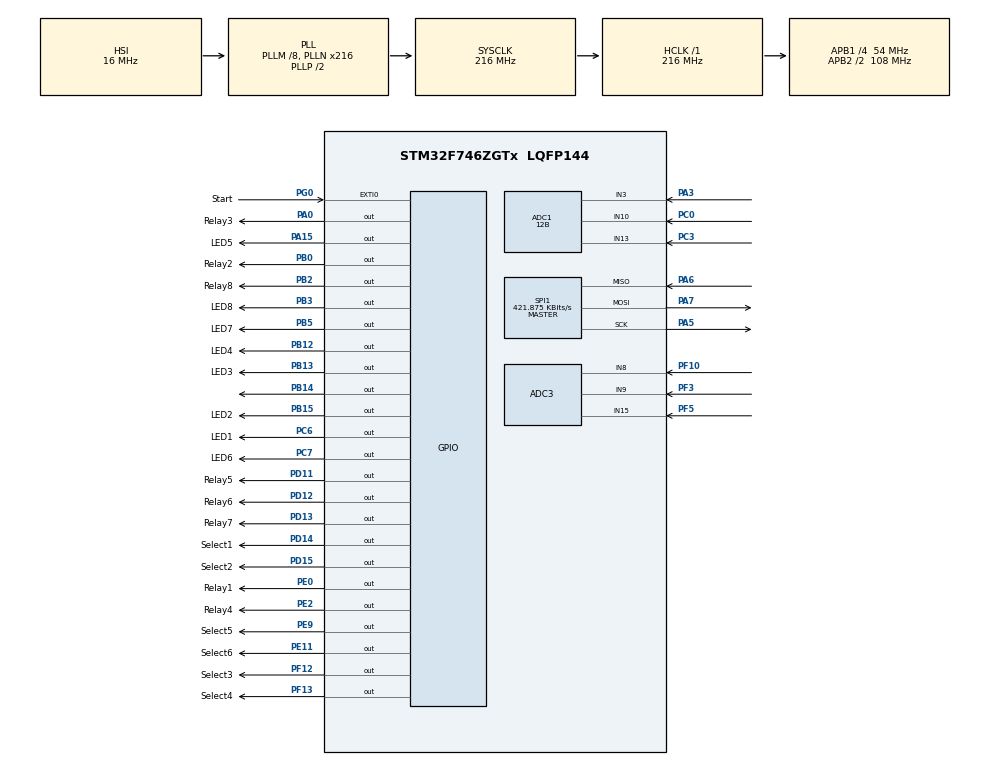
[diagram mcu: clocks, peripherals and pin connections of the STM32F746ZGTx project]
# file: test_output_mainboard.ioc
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ADC1.Channel-0\#ChannelRegularConversion=ADC_CHANNEL_3
ADC1.ClockPrescaler=ADC_CLOCK_SYNC_PCLK_DIV4
ADC1.ContinuousConvMode=DISABLE
ADC1.DMAContinuousRequests=DISABLE
ADC1.DataAlign=ADC_DATAALIGN_RIGHT
ADC1.DiscontinuousConvMode=DISABLE
ADC1.EOCSelection=ADC_EOC_SINGLE_CONV
ADC1.EnableAnalogWatchDog=false
ADC1.ExternalTrigConv=ADC_SOFTWARE_START
ADC1.ExternalTrigConvEdge=ADC_EXTERNALTRIGCONVEDGE_NONE
ADC1.InjNumberOfConversion=0
ADC1.NbrOfConversion=1
ADC1.NbrOfConversionFlag=1
ADC1.Rank-0\#ChannelRegularConversion=1
ADC1.Resolution=ADC_RESOLUTION_12B
ADC1.SamplingTime-0\#ChannelRegularConversion=ADC_SAMPLETIME_3CYCLES
ADC1.ScanConvMode=DISABLE
ADC1.master=1
ADC3.Channel-0\#ChannelRegularConversion=ADC_CHANNEL_9
ADC3.NbrOfConversionFlag=1
ADC3.Rank-0\#ChannelRegularConversion=1
ADC3.SamplingTime-0\#ChannelRegularConversion=ADC_SAMPLETIME_3CYCLES
Mcu.Family=STM32F7
Mcu.Name=STM32F746ZGTx
Mcu.Package=LQFP144
NVIC.EXTI0_IRQn=true\:0\:0\:false\:false\:true\:true
NVIC.PriorityGroup=NVIC_PRIORITYGROUP_4
NVIC.SPI1_IRQn=true\:0\:0\:false\:false\:true\:true
PA0/WKUP.GPIO_Label=Relay3
PA0/WKUP.GPIO_Speed=GPIO_SPEED_FREQ_LOW
PA0/WKUP.PinState=GPIO_PIN_SET
PA0/WKUP.Signal=GPIO_Output
PA15.GPIO_Label=LED5
PA15.GPIO_Speed=GPIO_SPEED_FREQ_VERY_HIGH
PA15.Signal=GPIO_Output
PA3.Signal=ADCx_IN3
PA5.Mode=Full_Duplex_Master
PA5.Signal=SPI1_SCK
PA6.Mode=Full_Duplex_Master
PA6.Signal=SPI1_MISO
PA7.Mode=Full_Duplex_Master
PA7.Signal=SPI1_MOSI
PB0.GPIO_Label=Relay2
PB0.GPIO_Speed=GPIO_SPEED_FREQ_LOW
PB0.PinState=GPIO_PIN_SET
PB0.Signal=GPIO_Output
PB12.GPIO_Label=LED4
PB12.GPIO_Speed=GPIO_SPEED_FREQ_VERY_HIGH
PB12.Signal=GPIO_Output
PB13.GPIO_Label=LED3
PB13.GPIO_Speed=GPIO_SPEED_FREQ_VERY_HIGH
PB13.Signal=GPIO_Output
PB14.Signal=GPIO_Output
PB15.GPIO_Label=LED2
PB15.GPIO_Speed=GPIO_SPEED_FREQ_VERY_HIGH
PB15.Signal=GPIO_Output
PB2.GPIO_Label=Relay8
PB2.GPIO_Speed=GPIO_SPEED_FREQ_LOW
PB2.PinState=GPIO_PIN_SET
PB2.Signal=GPIO_Output
PB3.GPIO_Label=LED8
PB3.GPIO_Speed=GPIO_SPEED_FREQ_VERY_HIGH
PB3.Signal=GPIO_Output
PB5.GPIO_Label=LED7
PB5.GPIO_Speed=GPIO_SPEED_FREQ_VERY_HIGH
PB5.Signal=GPIO_Output
PC0.Signal=ADCx_IN10
PC3.Signal=ADCx_IN13
PC6.GPIO_Label=LED1
PC6.GPIO_Speed=GPIO_SPEED_FREQ_VERY_HIGH
PC6.Signal=GPIO_Output
PC7.GPIO_Label=LED6
PC7.GPIO_Speed=GPIO_SPEED_FREQ_VERY_HIGH
PC7.Signal=GPIO_Output
PD11.GPIO_Label=Relay5
PD11.GPIO_Speed=GPIO_SPEED_FREQ_LOW
PD11.PinState=GPIO_PIN_SET
PD11.Signal=GPIO_Output
PD12.GPIO_Label=Relay6
PD12.GPIO_Speed=GPIO_SPEED_FREQ_LOW
PD12.PinState=GPIO_PIN_SET
PD12.Signal=GPIO_Output
PD13.GPIO_Label=Relay7
PD13.GPIO_Speed=GPIO_SPEED_FREQ_LOW
PD13.PinState=GPIO_PIN_SET
PD13.Signal=GPIO_Output
PD14.GPIO_Label=Select1
PD14.GPIO_Speed=GPIO_SPEED_FREQ_VERY_HIGH
PD14.Signal=GPIO_Output
PD15.GPIO_Label=Select2
PD15.GPIO_Speed=GPIO_SPEED_FREQ_VERY_HIGH
PD15.PinState=GPIO_PIN_RESET
PD15.Signal=GPIO_Output
PE0.GPIO_Label=Relay1
PE0.GPIO_Speed=GPIO_SPEED_FREQ_LOW
PE0.PinState=GPIO_PIN_SET
PE0.Signal=GPIO_Output
PE11.GPIO_Label=Select6
PE11.GPIO_Speed=GPIO_SPEED_FREQ_VERY_HIGH
PE11.Signal=GPIO_Output
PE2.GPIO_Label=Relay4
PE2.GPIO_Speed=GPIO_SPEED_FREQ_LOW
PE2.PinState=GPIO_PIN_SET
PE2.Signal=GPIO_Output
PE9.GPIO_Label=Select5
PE9.GPIO_Speed=GPIO_SPEED_FREQ_VERY_HIGH
PE9.Signal=GPIO_Output
PF10.Mode=IN8
PF10.Signal=ADC3_IN8
PF12.GPIO_Label=Select3
PF12.GPIO_Speed=GPIO_SPEED_FREQ_VERY_HIGH
PF12.PinState=GPIO_PIN_RESET
PF12.Signal=GPIO_Output
PF13.GPIO_Label=Select4
PF13.GPIO_Speed=GPIO_SPEED_FREQ_VERY_HIGH
PF13.Signal=GPIO_Output
PF3.Mode=IN9
PF3.Signal=ADC3_IN9
PF5.Mode=IN15
PF5.Signal=ADC3_IN15
PG0.GPIO_Label=Start
PG0.Signal=GPXTI0
ProjectManager.HeapSize=0x200
ProjectManager.StackSize=0x400
ProjectManager.TargetToolchain=MDK-ARM V5
RCC.AHBFreq_Value=216000000
RCC.APB1CLKDivider=RCC_HCLK_DIV4
RCC.APB1Freq_Value=54000000
RCC.APB1TimFreq_Value=108000000
RCC.APB2CLKDivider=RCC_HCLK_DIV2
RCC.APB2Freq_Value=108000000
RCC.APB2TimFreq_Value=216000000
RCC.CortexFreq_Value=216000000
RCC.HCLKFreq_Value=216000000
RCC.HSE_VALUE=25000000
RCC.HSI_VALUE=16000000
RCC.LSE_VALUE=32768
RCC.PLLM=8
RCC.PLLN=216
RCC.SYSCLKFreq_VALUE=216000000
RCC.SYSCLKSource=RCC_SYSCLKSOURCE_PLLCLK
RCC.USBFreq_Value=216000000
RCC.VCOOutputFreq_Value=432000000
SH.ADCx_IN10.0=ADC1_IN10,IN10
SH.ADCx_IN13.0=ADC1_IN13,IN13
SH.ADCx_IN3.0=ADC1_IN3,IN3
SPI1.BaudRatePrescaler=SPI_BAUDRATEPRESCALER_256
SPI1.CalculateBaudRate=421.875 KBits/s
SPI1.DataSize=SPI_DATASIZE_8BIT
SPI1.Direction=SPI_DIRECTION_2LINES
SPI1.Mode=SPI_MODE_MASTER
SPI1.VirtualType=VM_MASTER
board=test_output_mainboard

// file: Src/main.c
/**
  ******************************************************************************
  * @file           : main.c
  * @brief          : Main program body
  ******************************************************************************
  ** This notice applies to any and all portions of this file
  * that are not between comment pairs USER CODE BEGIN and
  * USER CODE END. Other portions of this file, whether
  * inserted by the user or by software development tools
  * are owned by their respective copyright owners.
  *
  * COPYRIGHT(c) 2018 STMicroelectronics
  *
  * Redistribution and use in source and binary forms, with or without modification,
  * are permitted provided that the following conditions are met:
  *   1. Redistributions of source code must retain the above copyright notice,
  *      this list of conditions and the following disclaimer.
  *   2. Redistributions in binary form must reproduce the above copyright notice,
  *      this list of conditions and the following disclaimer in the documentation
  *      and/or other materials provided with the distribution.
  *   3. Neither the name of STMicroelectronics nor the names of its contributors
  *      may be used to endorse or promote products derived from this software
  *      without specific prior written permission.
  *
  * THIS SOFTWARE IS PROVIDED BY THE COPYRIGHT HOLDERS AND CONTRIBUTORS "AS IS"
  * AND ANY EXPRESS OR IMPLIED WARRANTIES, INCLUDING, BUT NOT LIMITED TO, THE
  * IMPLIED WARRANTIES OF MERCHANTABILITY AND FITNESS FOR A PARTICULAR PURPOSE ARE
  * DISCLAIMED. IN NO EVENT SHALL THE COPYRIGHT HOLDER OR CONTRIBUTORS BE LIABLE
  * FOR ANY DIRECT, INDIRECT, INCIDENTAL, SPECIAL, EXEMPLARY, OR CONSEQUENTIAL
  * DAMAGES (INCLUDING, BUT NOT LIMITED TO, PROCUREMENT OF SUBSTITUTE GOODS OR
  * SERVICES; LOSS OF USE, DATA, OR PROFITS; OR BUSINESS INTERRUPTION) HOWEVER
  * CAUSED AND ON ANY THEORY OF LIABILITY, WHETHER IN CONTRACT, STRICT LIABILITY,
  * OR TORT (INCLUDING NEGLIGENCE OR OTHERWISE) ARISING IN ANY WAY OUT OF THE USE
  * OF THIS SOFTWARE, EVEN IF ADVISED OF THE POSSIBILITY OF SUCH DAMAGE.
  *
  ******************************************************************************
  */
#include "main.h"
#include "stm32f7xx_hal.h"

ADC_HandleTypeDef hadc1;
ADC_HandleTypeDef hadc3;

SPI_HandleTypeDef hspi1;

/* USER CODE BEGIN PV */
/* Private variables ---------------------------------------------------------*/
uint8_t run_mode;
uint8_t datalenght = 4;
uint8_t dataRx[4] ;
uint8_t dataTx[4] = {0xFF,0xFF,0x55,0x22};
/* USER CODE END PV */

void SystemClock_Config(void);
static void MX_GPIO_Init(void);
static void MX_SPI1_Init(void);
static void MX_ADC1_Init(void);
static void MX_ADC3_Init(void);

/* USER CODE BEGIN PFP */
void SendPackageSPI (SPI_HandleTypeDef *hspi, uint8_t Select , uint8_t *package,uint8_t lenght_data);
void CheckPackageSPI (uint8_t *package);

/* Private function prototypes -----------------------------------------------*/

/* USER CODE END PFP */

/* USER CODE BEGIN 0 */
#define SpiEn1 HAL_GPIO_WritePin (Select1_GPIO_Port,Select1_Pin, GPIO_PIN_RESET);
#define SpiDis1 HAL_GPIO_WritePin(Select1_GPIO_Port,Select1_Pin, GPIO_PIN_SET);
#define SpiEn2 HAL_GPIO_WritePin (Select2_GPIO_Port,Select2_Pin, GPIO_PIN_RESET);
#define SpiDis2 HAL_GPIO_WritePin(Select2_GPIO_Port,Select2_Pin, GPIO_PIN_SET);
#define SpiEn3 HAL_GPIO_WritePin (Select3_GPIO_Port,Select3_Pin, GPIO_PIN_RESET);
#define SpiDis3 HAL_GPIO_WritePin(Select3_GPIO_Port,Select3_Pin, GPIO_PIN_SET);
#define SpiEn4 HAL_GPIO_WritePin (Select4_GPIO_Port,Select4_Pin, GPIO_PIN_RESET);
#define SpiDis4 HAL_GPIO_WritePin(Select4_GPIO_Port,Select4_Pin, GPIO_PIN_SET);
#define SpiEn5 HAL_GPIO_WritePin (Select5_GPIO_Port,Select5_Pin, GPIO_PIN_RESET);
#define SpiDis5 HAL_GPIO_WritePin(Select5_GPIO_Port,Select5_Pin, GPIO_PIN_SET);
#define SpiEn6 HAL_GPIO_WritePin (Select6_GPIO_Port,Select6_Pin, GPIO_PIN_RESET);
#define SpiDis6 HAL_GPIO_WritePin(Select6_GPIO_Port,Select6_Pin, GPIO_PIN_SET);

/* USER CODE END 0 */

int main(void)
{
  /* USER CODE BEGIN 1 */
  run_mode = 0;
	dataRx[0] = 1;
	dataRx[1] = 1;
	dataRx[2] = 1;
	dataRx[3] = 1;
  /* USER CODE END 1 */

  /* MCU Configuration----------------------------------------------------------*/

  /* Reset of all peripherals, Initializes the Flash interface and the Systick. */
  HAL_Init();

  /* Configure the system clock */
  SystemClock_Config();

  /* Initialize all configured peripherals */
  MX_GPIO_Init();
  MX_SPI1_Init();
  MX_ADC1_Init();
  MX_ADC3_Init();
  /* USER CODE BEGIN 2 */
  HAL_SPI_Receive_IT(&hspi1,(uint8_t*)dataRx,datalenght);
  /* USER CODE END 2 */

  /* Infinite loop */
  while (1)
  {

  /* USER CODE BEGIN 3 */

	switch (run_mode){
		case 1:
		HAL_GPIO_WritePin(LED1_GPIO_Port,LED1_Pin,GPIO_PIN_SET);
		dataTx[0]= 0x25;
		dataTx[1]= 0x25;
		dataTx[2]= 0x25;
		dataTx[3]= 0x25;
		SendPackageSPI(&hspi1,6,dataTx,datalenght);
		HAL_GPIO_WritePin(GPIOB, GPIO_PIN_14, GPIO_PIN_SET);

		break;
		default:
		HAL_GPIO_WritePin(Relay1_GPIO_Port,Relay1_Pin,GPIO_PIN_SET);
		HAL_GPIO_WritePin(Relay2_GPIO_Port,Relay2_Pin,GPIO_PIN_SET);
		HAL_GPIO_WritePin(Relay3_GPIO_Port,Relay3_Pin,GPIO_PIN_SET);
		HAL_GPIO_WritePin(Relay4_GPIO_Port,Relay4_Pin,GPIO_PIN_SET);
		HAL_GPIO_WritePin(Relay5_GPIO_Port,Relay5_Pin,GPIO_PIN_SET);
		HAL_GPIO_WritePin(Relay6_GPIO_Port,Relay6_Pin,GPIO_PIN_SET);
		HAL_GPIO_WritePin(Relay7_GPIO_Port,Relay7_Pin,GPIO_PIN_SET);
		HAL_GPIO_WritePin(Relay8_GPIO_Port,Relay8_Pin,GPIO_PIN_SET);
		HAL_Init();
		MX_GPIO_Init();
    MX_SPI1_Init();
    MX_ADC1_Init();
    MX_ADC3_Init();
		dataTx[0]= 0xff;
		dataTx[1]= 0xff;
		dataTx[2]= 0xff;
		dataTx[3]= 0xff;
		SendPackageSPI(&hspi1,6,dataTx,4);
		break;
	 }
  }
  /* USER CODE END 3 */

}

void SystemClock_Config(void)
{

  RCC_OscInitTypeDef RCC_OscInitStruct;
  RCC_ClkInitTypeDef RCC_ClkInitStruct;

    /**Configure the main internal regulator output voltage
    */
  __HAL_RCC_PWR_CLK_ENABLE();

  __HAL_PWR_VOLTAGESCALING_CONFIG(PWR_REGULATOR_VOLTAGE_SCALE1);

    /**Initializes the CPU, AHB and APB busses clocks
    */
  RCC_OscInitStruct.OscillatorType = RCC_OSCILLATORTYPE_HSI;
  RCC_OscInitStruct.HSIState = RCC_HSI_ON;
  RCC_OscInitStruct.HSICalibrationValue = 16;
  RCC_OscInitStruct.PLL.PLLState = RCC_PLL_ON;
  RCC_OscInitStruct.PLL.PLLSource = RCC_PLLSOURCE_HSI;
  RCC_OscInitStruct.PLL.PLLM = 8;
  RCC_OscInitStruct.PLL.PLLN = 216;
  RCC_OscInitStruct.PLL.PLLP = RCC_PLLP_DIV2;
  RCC_OscInitStruct.PLL.PLLQ = 2;
  if (HAL_RCC_OscConfig(&RCC_OscInitStruct) != HAL_OK)
  {
    _Error_Handler(__FILE__, __LINE__);
  }

    /**Activate the Over-Drive mode
    */
  if (HAL_PWREx_EnableOverDrive() != HAL_OK)
  {
    _Error_Handler(__FILE__, __LINE__);
  }

    /**Initializes the CPU, AHB and APB busses clocks
    */
  RCC_ClkInitStruct.ClockType = RCC_CLOCKTYPE_HCLK|RCC_CLOCKTYPE_SYSCLK
                              |RCC_CLOCKTYPE_PCLK1|RCC_CLOCKTYPE_PCLK2;
  RCC_ClkInitStruct.SYSCLKSource = RCC_SYSCLKSOURCE_PLLCLK;
  RCC_ClkInitStruct.AHBCLKDivider = RCC_SYSCLK_DIV1;
  RCC_ClkInitStruct.APB1CLKDivider = RCC_HCLK_DIV4;
  RCC_ClkInitStruct.APB2CLKDivider = RCC_HCLK_DIV2;

  if (HAL_RCC_ClockConfig(&RCC_ClkInitStruct, FLASH_LATENCY_7) != HAL_OK)
  {
    _Error_Handler(__FILE__, __LINE__);
  }

    /**Configure the Systick interrupt time
    */
  HAL_SYSTICK_Config(HAL_RCC_GetHCLKFreq()/1000);

    /**Configure the Systick
    */
  HAL_SYSTICK_CLKSourceConfig(SYSTICK_CLKSOURCE_HCLK);

  /* SysTick_IRQn interrupt configuration */
  HAL_NVIC_SetPriority(SysTick_IRQn, 0, 0);
}

/* ADC1 init function */
static void MX_ADC1_Init(void)
{

  ADC_ChannelConfTypeDef sConfig;

    /**Configure the global features of the ADC (Clock, Resolution, Data Alignment and number of conversion)
    */
  hadc1.Instance = ADC1;
  hadc1.Init.ClockPrescaler = ADC_CLOCK_SYNC_PCLK_DIV4;
  hadc1.Init.Resolution = ADC_RESOLUTION_12B;
  hadc1.Init.ScanConvMode = DISABLE;
  hadc1.Init.ContinuousConvMode = DISABLE;
  hadc1.Init.DiscontinuousConvMode = DISABLE;
  hadc1.Init.ExternalTrigConvEdge = ADC_EXTERNALTRIGCONVEDGE_NONE;
  hadc1.Init.ExternalTrigConv = ADC_SOFTWARE_START;
  hadc1.Init.DataAlign = ADC_DATAALIGN_RIGHT;
  hadc1.Init.NbrOfConversion = 1;
  hadc1.Init.DMAContinuousRequests = DISABLE;
  hadc1.Init.EOCSelection = ADC_EOC_SINGLE_CONV;
  if (HAL_ADC_Init(&hadc1) != HAL_OK)
  {
    _Error_Handler(__FILE__, __LINE__);
  }

    /**Configure for the selected ADC regular channel its corresponding rank in the sequencer and its sample time.
    */
  sConfig.Channel = ADC_CHANNEL_3;
  sConfig.Rank = ADC_REGULAR_RANK_1;
  sConfig.SamplingTime = ADC_SAMPLETIME_3CYCLES;
  if (HAL_ADC_ConfigChannel(&hadc1, &sConfig) != HAL_OK)
  {
    _Error_Handler(__FILE__, __LINE__);
  }

}

/* ADC3 init function */
static void MX_ADC3_Init(void)
{

  ADC_ChannelConfTypeDef sConfig;

    /**Configure the global features of the ADC (Clock, Resolution, Data Alignment and number of conversion)
    */
  hadc3.Instance = ADC3;
  hadc3.Init.ClockPrescaler = ADC_CLOCK_SYNC_PCLK_DIV4;
  hadc3.Init.Resolution = ADC_RESOLUTION_12B;
  hadc3.Init.ScanConvMode = DISABLE;
  hadc3.Init.ContinuousConvMode = DISABLE;
  hadc3.Init.DiscontinuousConvMode = DISABLE;
  hadc3.Init.ExternalTrigConvEdge = ADC_EXTERNALTRIGCONVEDGE_NONE;
  hadc3.Init.ExternalTrigConv = ADC_SOFTWARE_START;
  hadc3.Init.DataAlign = ADC_DATAALIGN_RIGHT;
  hadc3.Init.NbrOfConversion = 1;
  hadc3.Init.DMAContinuousRequests = DISABLE;
  hadc3.Init.EOCSelection = ADC_EOC_SINGLE_CONV;
  if (HAL_ADC_Init(&hadc3) != HAL_OK)
  {
    _Error_Handler(__FILE__, __LINE__);
  }

    /**Configure for the selected ADC regular channel its corresponding rank in the sequencer and its sample time.
    */
  sConfig.Channel = ADC_CHANNEL_9;
  sConfig.Rank = ADC_REGULAR_RANK_1;
  sConfig.SamplingTime = ADC_SAMPLETIME_3CYCLES;
  if (HAL_ADC_ConfigChannel(&hadc3, &sConfig) != HAL_OK)
  {
    _Error_Handler(__FILE__, __LINE__);
  }

}

/* SPI1 init function */
static void MX_SPI1_Init(void)
{

  /* SPI1 parameter configuration*/
  hspi1.Instance = SPI1;
  hspi1.Init.Mode = SPI_MODE_MASTER;
  hspi1.Init.Direction = SPI_DIRECTION_2LINES;
  hspi1.Init.DataSize = SPI_DATASIZE_8BIT;
  hspi1.Init.CLKPolarity = SPI_POLARITY_LOW;
  hspi1.Init.CLKPhase = SPI_PHASE_1EDGE;
  hspi1.Init.NSS = SPI_NSS_SOFT;
  hspi1.Init.BaudRatePrescaler = SPI_BAUDRATEPRESCALER_256;
  hspi1.Init.FirstBit = SPI_FIRSTBIT_MSB;
  hspi1.Init.TIMode = SPI_TIMODE_DISABLE;
  hspi1.Init.CRCCalculation = SPI_CRCCALCULATION_DISABLE;
  hspi1.Init.CRCPolynomial = 7;
  hspi1.Init.CRCLength = SPI_CRC_LENGTH_DATASIZE;
  hspi1.Init.NSSPMode = SPI_NSS_PULSE_ENABLE;
  if (HAL_SPI_Init(&hspi1) != HAL_OK)
  {
    _Error_Handler(__FILE__, __LINE__);
  }

}

/** Configure pins as
        * Analog
        * Input
        * Output
        * EVENT_OUT
        * EXTI
*/
static void MX_GPIO_Init(void)
{

  GPIO_InitTypeDef GPIO_InitStruct;

  /* GPIO Ports Clock Enable */
  __HAL_RCC_GPIOE_CLK_ENABLE();
  __HAL_RCC_GPIOF_CLK_ENABLE();
  __HAL_RCC_GPIOC_CLK_ENABLE();
  __HAL_RCC_GPIOA_CLK_ENABLE();
  __HAL_RCC_GPIOB_CLK_ENABLE();
  __HAL_RCC_GPIOG_CLK_ENABLE();
  __HAL_RCC_GPIOD_CLK_ENABLE();

  /*Configure GPIO pin Output Level */
  HAL_GPIO_WritePin(GPIOE, Relay4_Pin|Relay1_Pin, GPIO_PIN_SET);

  /*Configure GPIO pin Output Level */
  HAL_GPIO_WritePin(Relay3_GPIO_Port, Relay3_Pin, GPIO_PIN_SET);

  /*Configure GPIO pin Output Level */
  HAL_GPIO_WritePin(GPIOB, Relay2_Pin|Relay8_Pin, GPIO_PIN_SET);

  /*Configure GPIO pin Output Level */
  HAL_GPIO_WritePin(GPIOF, Select3_Pin|Select4_Pin, GPIO_PIN_RESET);

  /*Configure GPIO pin Output Level */
  HAL_GPIO_WritePin(GPIOE, Select5_Pin|Select6_Pin, GPIO_PIN_RESET);

  /*Configure GPIO pin Output Level */
  HAL_GPIO_WritePin(GPIOB, LED4_Pin|LED3_Pin|GPIO_PIN_14|LED2_Pin
                          |LED8_Pin|LED7_Pin, GPIO_PIN_RESET);

  /*Configure GPIO pin Output Level */
  HAL_GPIO_WritePin(GPIOD, Relay5_Pin|Relay6_Pin|Relay7_Pin, GPIO_PIN_SET);

  /*Configure GPIO pin Output Level */
  HAL_GPIO_WritePin(GPIOD, Select1_Pin|Select2_Pin, GPIO_PIN_RESET);

  /*Configure GPIO pin Output Level */
  HAL_GPIO_WritePin(GPIOC, LED1_Pin|LED6_Pin, GPIO_PIN_RESET);

  /*Configure GPIO pin Output Level */
  HAL_GPIO_WritePin(LED5_GPIO_Port, LED5_Pin, GPIO_PIN_RESET);

  /*Configure GPIO pins : Relay4_Pin Relay1_Pin */
  GPIO_InitStruct.Pin = Relay4_Pin|Relay1_Pin;
  GPIO_InitStruct.Mode = GPIO_MODE_OUTPUT_PP;
  GPIO_InitStruct.Pull = GPIO_NOPULL;
  GPIO_InitStruct.Speed = GPIO_SPEED_FREQ_LOW;
  HAL_GPIO_Init(GPIOE, &GPIO_InitStruct);

  /*Configure GPIO pin : Relay3_Pin */
  GPIO_InitStruct.Pin = Relay3_Pin;
  GPIO_InitStruct.Mode = GPIO_MODE_OUTPUT_PP;
  GPIO_InitStruct.Pull = GPIO_NOPULL;
  GPIO_InitStruct.Speed = GPIO_SPEED_FREQ_LOW;
  HAL_GPIO_Init(Relay3_GPIO_Port, &GPIO_InitStruct);

  /*Configure GPIO pins : Relay2_Pin Relay8_Pin PB14 */
  GPIO_InitStruct.Pin = Relay2_Pin|Relay8_Pin|GPIO_PIN_14;
  GPIO_InitStruct.Mode = GPIO_MODE_OUTPUT_PP;
  GPIO_InitStruct.Pull = GPIO_NOPULL;
  GPIO_InitStruct.Speed = GPIO_SPEED_FREQ_LOW;
  HAL_GPIO_Init(GPIOB, &GPIO_InitStruct);

  /*Configure GPIO pins : Select3_Pin Select4_Pin */
  GPIO_InitStruct.Pin = Select3_Pin|Select4_Pin;
  GPIO_InitStruct.Mode = GPIO_MODE_OUTPUT_PP;
  GPIO_InitStruct.Pull = GPIO_NOPULL;
  GPIO_InitStruct.Speed = GPIO_SPEED_FREQ_VERY_HIGH;
  HAL_GPIO_Init(GPIOF, &GPIO_InitStruct);

  /*Configure GPIO pin : Start_Pin */
  GPIO_InitStruct.Pin = Start_Pin;
  GPIO_InitStruct.Mode = GPIO_MODE_IT_RISING;
  GPIO_InitStruct.Pull = GPIO_NOPULL;
  HAL_GPIO_Init(Start_GPIO_Port, &GPIO_InitStruct);

  /*Configure GPIO pins : Select5_Pin Select6_Pin */
  GPIO_InitStruct.Pin = Select5_Pin|Select6_Pin;
  GPIO_InitStruct.Mode = GPIO_MODE_OUTPUT_PP;
  GPIO_InitStruct.Pull = GPIO_NOPULL;
  GPIO_InitStruct.Speed = GPIO_SPEED_FREQ_VERY_HIGH;
  HAL_GPIO_Init(GPIOE, &GPIO_InitStruct);

  /*Configure GPIO pins : LED4_Pin LED3_Pin LED2_Pin LED8_Pin
                           LED7_Pin */
  GPIO_InitStruct.Pin = LED4_Pin|LED3_Pin|LED2_Pin|LED8_Pin
                          |LED7_Pin;
  GPIO_InitStruct.Mode = GPIO_MODE_OUTPUT_PP;
  GPIO_InitStruct.Pull = GPIO_NOPULL;
  GPIO_InitStruct.Speed = GPIO_SPEED_FREQ_VERY_HIGH;
  HAL_GPIO_Init(GPIOB, &GPIO_InitStruct);

  /*Configure GPIO pins : Relay5_Pin Relay6_Pin Relay7_Pin */
  GPIO_InitStruct.Pin = Relay5_Pin|Relay6_Pin|Relay7_Pin;
  GPIO_InitStruct.Mode = GPIO_MODE_OUTPUT_PP;
  GPIO_InitStruct.Pull = GPIO_NOPULL;
  GPIO_InitStruct.Speed = GPIO_SPEED_FREQ_LOW;
  HAL_GPIO_Init(GPIOD, &GPIO_InitStruct);

  /*Configure GPIO pins : Select1_Pin Select2_Pin */
  GPIO_InitStruct.Pin = Select1_Pin|Select2_Pin;
  GPIO_InitStruct.Mode = GPIO_MODE_OUTPUT_PP;
  GPIO_InitStruct.Pull = GPIO_NOPULL;
  GPIO_InitStruct.Speed = GPIO_SPEED_FREQ_VERY_HIGH;
  HAL_GPIO_Init(GPIOD, &GPIO_InitStruct);

  /*Configure GPIO pins : LED1_Pin LED6_Pin */
  GPIO_InitStruct.Pin = LED1_Pin|LED6_Pin;
  GPIO_InitStruct.Mode = GPIO_MODE_OUTPUT_PP;
  GPIO_InitStruct.Pull = GPIO_NOPULL;
  GPIO_InitStruct.Speed = GPIO_SPEED_FREQ_VERY_HIGH;
  HAL_GPIO_Init(GPIOC, &GPIO_InitStruct);

  /*Configure GPIO pin : LED5_Pin */
  GPIO_InitStruct.Pin = LED5_Pin;
  GPIO_InitStruct.Mode = GPIO_MODE_OUTPUT_PP;
  GPIO_InitStruct.Pull = GPIO_NOPULL;
  GPIO_InitStruct.Speed = GPIO_SPEED_FREQ_VERY_HIGH;
  HAL_GPIO_Init(LED5_GPIO_Port, &GPIO_InitStruct);

  /* EXTI interrupt init*/
  HAL_NVIC_SetPriority(EXTI0_IRQn, 0, 0);
  HAL_NVIC_EnableIRQ(EXTI0_IRQn);

}

/* USER CODE BEGIN 4 */
void HAL_SPI_RxCpltCallback(SPI_HandleTypeDef *hspi)
{
	if(hspi->Instance == hspi1.Instance){
		HAL_SPI_Receive_IT(&hspi1,(uint8_t*)dataRx,datalenght);
	}
}

void CreatePackageSPI (uint8_t *package){

}

void SendPackageSPI (SPI_HandleTypeDef *hspi, uint8_t Select , uint8_t *package,uint8_t lenght_data){
	switch (Select) {
		case 1 :
			SpiEn1;
	    HAL_SPI_Transmit(hspi,(uint8_t*)package,lenght_data,100);
	    SpiDis1;
	    while(HAL_SPI_GetState(hspi) != HAL_SPI_STATE_READY);
			break;
		case 2 :
			SpiEn2;
	    HAL_SPI_Transmit(hspi,(uint8_t*)package,lenght_data,100);
	    SpiDis2;
	    while(HAL_SPI_GetState(hspi) != HAL_SPI_STATE_READY);
			break;
		case 3 :
			SpiEn3;
	    HAL_SPI_Transmit(hspi,(uint8_t*)package,lenght_data,100);
	    SpiDis3;
	    while(HAL_SPI_GetState(hspi) != HAL_SPI_STATE_READY);
			break;
		case 4 :
			SpiEn4;
	    HAL_SPI_Transmit(hspi,(uint8_t*)package,lenght_data,100);
	    SpiDis4;
	    while(HAL_SPI_GetState(hspi) != HAL_SPI_STATE_READY);
			break;
		case 5 :
			SpiEn5;
	    HAL_SPI_Transmit(hspi,(uint8_t*)package,lenght_data,100);
	    SpiDis5;
	    while(HAL_SPI_GetState(hspi) != HAL_SPI_STATE_READY);
			break;
		case 6 :
			SpiEn6;
	    HAL_SPI_Transmit(hspi,(uint8_t*)package,lenght_data,100);

	    while(HAL_SPI_GetState(hspi) != HAL_SPI_STATE_READY);
			break;
		default:
			break;
	}

}

void CheckPackageSPI (uint8_t *package){

}

/* USER CODE END 4 */

void _Error_Handler(char *file, int line)
{
  while(1)
  {
  }
}

/************************ (C) COPYRIGHT STMicroelectronics *****END OF FILE****/
